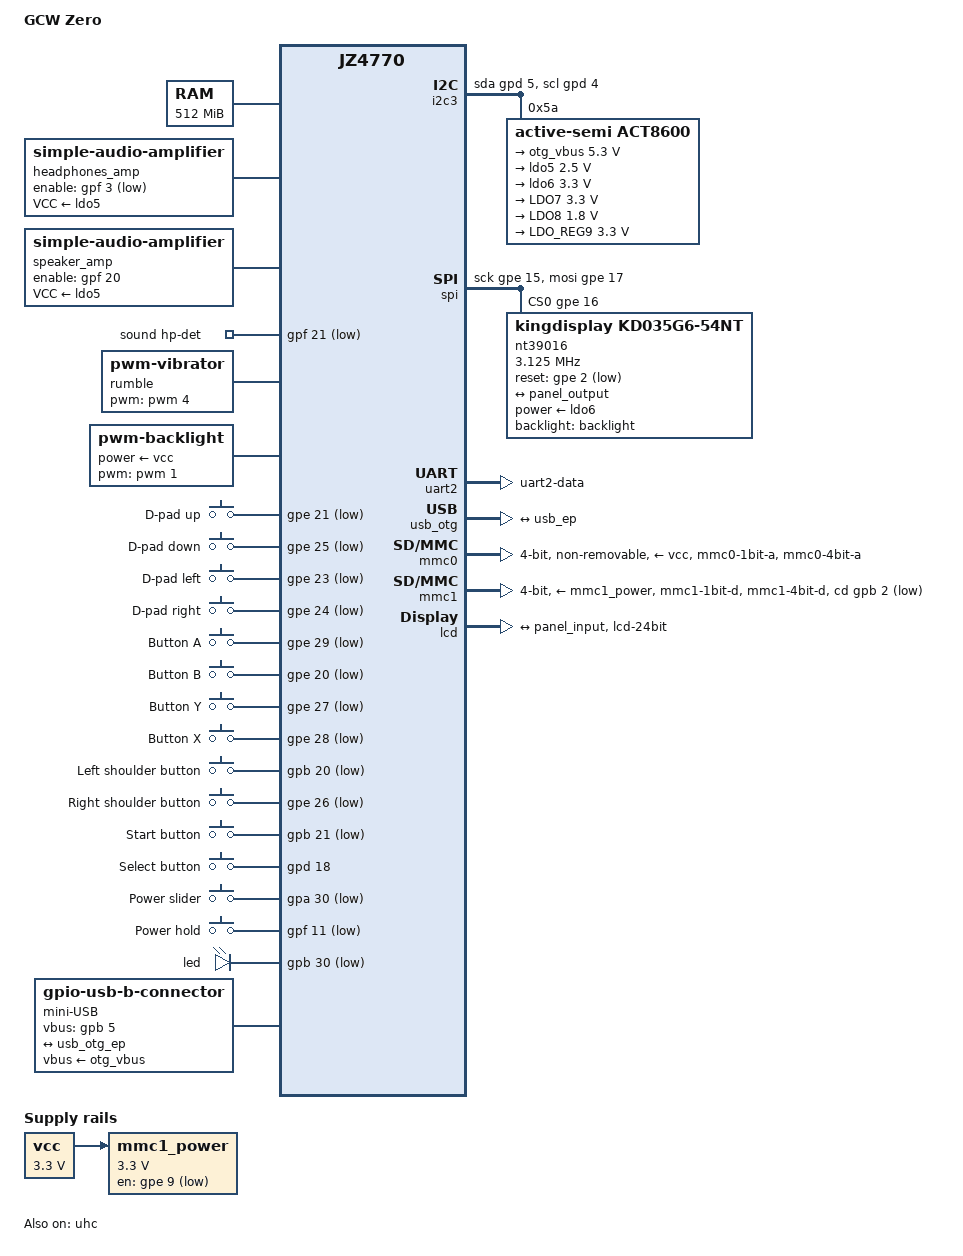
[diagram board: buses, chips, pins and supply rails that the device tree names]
// SPDX-License-Identifier: GPL-2.0
/dts-v1/;

#include "jz4770.dtsi"
#include <dt-bindings/clock/ingenic,tcu.h>

#include <dt-bindings/gpio/gpio.h>
#include <dt-bindings/iio/adc/ingenic,adc.h>
#include <dt-bindings/input/input.h>

/ {
	compatible = "gcw,zero", "ingenic,jz4770";
	model = "GCW Zero";

	aliases {
		serial0 = &uart0;
		serial1 = &uart1;
		serial2 = &uart2;
		serial3 = &uart3;
	};

	memory: memory {
		device_type = "memory";
		reg = <0x0 0x10000000>,
		      <0x30000000 0x10000000>;
	};

	chosen {
		stdout-path = "serial2:57600n8";
	};

	vcc: regulator@0 {
		compatible = "regulator-fixed";
		regulator-name = "vcc";

		regulator-min-microvolt = <3300000>;
		regulator-max-microvolt = <3300000>;
		regulator-always-on;
	};

	mmc1_power: regulator@1 {
		compatible = "regulator-fixed";
		regulator-name = "mmc1_vcc";
		gpio = <&gpe 9 0>;

		regulator-min-microvolt = <3300000>;
		regulator-max-microvolt = <3300000>;
		vin-supply = <&vcc>;
	};

	headphones_amp: analog-amplifier@0 {
		compatible = "simple-audio-amplifier";
		enable-gpios = <&gpf 3 GPIO_ACTIVE_LOW>;
		enable-delay-ms = <50>;

		VCC-supply = <&ldo5>;
		sound-name-prefix = "Headphones Amp";
	};

	speaker_amp: analog-amplifier@1 {
		compatible = "simple-audio-amplifier";
		enable-gpios = <&gpf 20 GPIO_ACTIVE_HIGH>;

		VCC-supply = <&ldo5>;
		sound-name-prefix = "Speaker Amp";
	};

	sound {
		compatible = "simple-audio-card";

		simple-audio-card,name = "gcw0-audio";
		simple-audio-card,format = "i2s";

		simple-audio-card,widgets =
			"Speaker", "Speaker",
			"Headphone", "Headphones",
			"Microphone", "Built-in Mic";
		simple-audio-card,routing =
			"Headphones Amp INL", "LHPOUT",
			"Headphones Amp INR", "RHPOUT",
			"Headphones", "Headphones Amp OUTL",
			"Headphones", "Headphones Amp OUTR",
			"Speaker Amp INL", "LOUT",
			"Speaker Amp INR", "ROUT",
			"Speaker", "Speaker Amp OUTL",
			"Speaker", "Speaker Amp OUTR",
			"LLINEIN", "Cap-less",
			"RLINEIN", "Cap-less",
			"Built-in Mic", "MICBIAS",
			"MIC1P", "Built-in Mic",
			"MIC1N", "Built-in Mic";
		simple-audio-card,pin-switches = "Speaker", "Headphones";

		simple-audio-card,hp-det-gpio = <&gpf 21 GPIO_ACTIVE_LOW>;
		simple-audio-card,aux-devs = <&speaker_amp>, <&headphones_amp>;

		simple-audio-card,bitclock-master = <&dai_codec>;
		simple-audio-card,frame-master = <&dai_codec>;

		dai_cpu: simple-audio-card,cpu {
			sound-dai = <&aic>;
		};

		dai_codec: simple-audio-card,codec {
			sound-dai = <&codec>;
		};
	};

	rumble {
		compatible = "pwm-vibrator";
		pwms = <&pwm 4 2000000 0>;
		pwm-names = "enable";

		pinctrl-names = "default";
		pinctrl-0 = <&pins_pwm4>;
	};

	backlight: backlight {
		compatible = "pwm-backlight";
		pwms = <&pwm 1 40000 0>;
		power-supply = <&vcc>;

		brightness-levels = <0 16 32 48 64 80 96 112 128
				     144 160 176 192 208 224 240 255>;
		default-brightness-level = <12>;

		pinctrl-names = "default";
		pinctrl-0 = <&pins_pwm1>;
	};

	gpio-keys {
		compatible = "gpio-keys";
		autorepeat;

		button-0 {
			label = "D-pad up";
			linux,code = <KEY_UP>;
			linux,can-disable;
			gpios = <&gpe 21 GPIO_ACTIVE_LOW>;
		};

		button-1 {
			label = "D-pad down";
			linux,code = <KEY_DOWN>;
			linux,can-disable;
			gpios = <&gpe 25 GPIO_ACTIVE_LOW>;
		};

		button-2 {
			label = "D-pad left";
			linux,code = <KEY_LEFT>;
			linux,can-disable;
			gpios = <&gpe 23 GPIO_ACTIVE_LOW>;
		};

		button-3 {
			label = "D-pad right";
			linux,code = <KEY_RIGHT>;
			linux,can-disable;
			gpios = <&gpe 24 GPIO_ACTIVE_LOW>;
		};

		button-4 {
			label = "Button A";
			linux,code = <KEY_LEFTCTRL>;
			linux,can-disable;
			gpios = <&gpe 29 GPIO_ACTIVE_LOW>;
		};

		button-5 {
			label = "Button B";
			linux,code = <KEY_LEFTALT>;
			linux,can-disable;
			gpios = <&gpe 20 GPIO_ACTIVE_LOW>;
		};

		button-6 {
			label = "Button Y";
			linux,code = <KEY_SPACE>;
			linux,can-disable;
			gpios = <&gpe 27 GPIO_ACTIVE_LOW>;
		};

		button-7 {
			label = "Button X";
			linux,code = <KEY_LEFTSHIFT>;
			linux,can-disable;
			gpios = <&gpe 28 GPIO_ACTIVE_LOW>;
		};

		button-8 {
			label = "Left shoulder button";
			linux,code = <KEY_TAB>;
			linux,can-disable;
			gpios = <&gpb 20 GPIO_ACTIVE_LOW>;
		};

		button-9 {
			label = "Right shoulder button";
			linux,code = <KEY_BACKSPACE>;
			linux,can-disable;
			gpios = <&gpe 26 GPIO_ACTIVE_LOW>;
		};

		button-10 {
			label = "Start button";
			linux,code = <KEY_ENTER>;
			linux,can-disable;
			gpios = <&gpb 21 GPIO_ACTIVE_LOW>;
		};

		button-11 {
			label = "Select button";
			linux,code = <KEY_ESC>;
			linux,can-disable;
			/*
			 * This is the only button that is active high,
			 * since it doubles as BOOT_SEL1.
			 */
			gpios = <&gpd 18 GPIO_ACTIVE_HIGH>;
		};

		button-12 {
			label = "Power slider";
			linux,code = <KEY_POWER>;
			linux,can-disable;
			gpios = <&gpa 30 GPIO_ACTIVE_LOW>;
			wakeup-source;
		};

		button-13 {
			label = "Power hold";
			linux,code = <KEY_PAUSE>;
			linux,can-disable;
			gpios = <&gpf 11 GPIO_ACTIVE_LOW>;
		};
	};

	i2c3: i2c-controller@3 {
		compatible = "i2c-gpio";
		#address-cells = <1>;
		#size-cells = <0>;

		sda-gpios = <&gpd 5 GPIO_ACTIVE_HIGH>;
		scl-gpios = <&gpd 4 GPIO_ACTIVE_HIGH>;
		i2c-gpio,delay-us = <2>; /* 250 kHz */

		act8600: pmic@5a {
			compatible = "active-semi,act8600";
			reg = <0x5a>;

			regulators {
				/* USB OTG */
				otg_vbus: SUDCDC_REG4 {
					/*
					 * 5.3V instead of 5.0V to compensate
					 * for the voltage drop of a diode
					 * between the regulator and the
					 * connector.
					 */
					regulator-min-microvolt = <5300000>;
					regulator-max-microvolt = <5300000>;
					inl-supply = <&vcc>;
				};

				/*
				 * When this is off, there is no sound, but also
				 * no USB networking.
				 */
				ldo5: LDO5 {
					regulator-min-microvolt = <2500000>;
					regulator-max-microvolt = <2500000>;
					inl-supply = <&vcc>;
				};

				/* LCD panel and FM radio */
				ldo6: LDO6 {
					regulator-min-microvolt = <3300000>;
					regulator-max-microvolt = <3300000>;
					inl-supply = <&vcc>;
				};

				/* ??? */
				LDO7 {
					regulator-min-microvolt = <3300000>;
					regulator-max-microvolt = <3300000>;
					/*regulator-always-on;*/
					inl-supply = <&vcc>;
				};

				/*
				 * The colors on the LCD are wrong when this is
				 * off. Which is strange, since the LCD panel
				 * data sheet only mentions a 3.3V input.
				 */
				LDO8 {
					regulator-min-microvolt = <1800000>;
					regulator-max-microvolt = <1800000>;
					regulator-always-on;
					inl-supply = <&vcc>;
				};

				/* RTC fixed 3.3V */
				LDO_REG9 {
					regulator-min-microvolt = <3300000>;
					regulator-max-microvolt = <3300000>;
					regulator-always-on;
					inl-supply = <&vcc>;
				};

				/* Unused fixed 1.2V */
				LDO_REG10 {
					inl-supply = <&vcc>;
				};
			};
		};
	};

	leds {
		compatible = "gpio-leds";

		led {
			gpios = <&gpb 30 GPIO_ACTIVE_LOW>;
			default-state = "on";
		};
	};

	spi {
		compatible = "spi-gpio";
		#address-cells = <1>;
		#size-cells = <0>;

		sck-gpios = <&gpe 15 GPIO_ACTIVE_HIGH>;
		mosi-gpios = <&gpe 17 GPIO_ACTIVE_HIGH>;
		cs-gpios = <&gpe 16 GPIO_ACTIVE_HIGH>;
		num-chipselects = <1>;

		nt39016@0 {
			compatible = "kingdisplay,kd035g6-54nt";
			reg = <0>;

			spi-max-frequency = <3125000>;
			spi-3wire;

			reset-gpios = <&gpe 2 GPIO_ACTIVE_LOW>;

			backlight = <&backlight>;
			power-supply = <&ldo6>;

			port {
				panel_input: endpoint {
					remote-endpoint = <&panel_output>;
				};
			};
		};
	};

	connector {
		compatible = "gpio-usb-b-connector", "usb-b-connector";
		label = "mini-USB";
		type = "mini";

		/*
		 * USB OTG is not yet working reliably, the ID detection
		 * mechanism tends to fry easily for unknown reasons.
		 * Until this is fixed, disable OTG by not providing the
		 * ID GPIO to the driver.
		 */
		//id-gpios = <&gpf 18 GPIO_ACTIVE_LOW>;

		vbus-gpios = <&gpb 5 GPIO_ACTIVE_HIGH>;
		vbus-supply = <&otg_vbus>;

		pinctrl-names = "default";
		pinctrl-0 = <&pins_otg>;

		port {
			usb_ep: endpoint {
				remote-endpoint = <&usb_otg_ep>;
			};
		};
	};
};

&ext {
	clock-frequency = <12000000>;
};

&pinctrl {
	pins_lcd: lcd {
		function = "lcd";
		groups = "lcd-24bit";
	};

	pins_uart2: uart2 {
		function = "uart2";
		groups = "uart2-data";
	};

	pins_mmc0: mmc0 {
		function = "mmc0";
		groups = "mmc0-1bit-a", "mmc0-4bit-a";
	};

	pins_mmc1: mmc1 {
		function = "mmc1";
		groups = "mmc1-1bit-d", "mmc1-4bit-d";
	};

	pins_otg: otg {
		otg-vbus-pin {
			function = "otg";
			groups = "otg-vbus";
		};

		vbus-pin {
			pins = "PB5";
			bias-disable;
		};
	};

	pins_pwm1: pwm1 {
		function = "pwm1";
		groups = "pwm1";
	};

	pins_pwm4: pwm4 {
		function = "pwm4";
		groups = "pwm4";
	};
};

&uart2 {
	pinctrl-names = "default";
	pinctrl-0 = <&pins_uart2>;

	status = "okay";
};

&cgu {
	/*
	 * Put high-speed peripherals under PLL1, such that we can change the
	 * PLL0 frequency on demand without having to suspend peripherals.
	 * We use a rate of 432 MHz, which is the least common multiple of
	 * 27 MHz (required by TV encoder) and 48 MHz (required by USB host).
	 * Put the GPU under PLL0 since we want a higher frequency.
	 * Use the 32 kHz oscillator as the parent of the RTC for a higher
	 * precision.
	 */
	assigned-clocks =
		<&cgu JZ4770_CLK_PLL1>,
		<&cgu JZ4770_CLK_GPU>,
		<&cgu JZ4770_CLK_RTC>,
		<&cgu JZ4770_CLK_UHC>,
		<&cgu JZ4770_CLK_LPCLK_MUX>,
		<&cgu JZ4770_CLK_MMC0_MUX>,
		<&cgu JZ4770_CLK_MMC1_MUX>;
	assigned-clock-parents =
		<0>,
		<&cgu JZ4770_CLK_PLL0>,
		<&cgu JZ4770_CLK_OSC32K>,
		<&cgu JZ4770_CLK_PLL1>,
		<&cgu JZ4770_CLK_PLL1>,
		<&cgu JZ4770_CLK_PLL1>,
		<&cgu JZ4770_CLK_PLL1>;
	assigned-clock-rates =
		<432000000>,
		<600000000>;
};

&uhc {
	/* The WiFi module is connected to the UHC. */
	status = "okay";
};

&tcu {
	/*
	 * 750 kHz for the system timer and clocksource, 12 MHz for the OST,
	 * and use RTC as the parent for the watchdog clock
	 */
	assigned-clocks = <&tcu TCU_CLK_TIMER0>, <&tcu TCU_CLK_TIMER2>,
			  <&tcu TCU_CLK_OST>, <&tcu TCU_CLK_WDT>;
	assigned-clock-parents = <0>, <0>, <0>, <&cgu JZ4770_CLK_RTC>;
	assigned-clock-rates = <750000>, <750000>, <12000000>;

	/* PWM1 is in use, so use channel #2 for the clocksource */
	ingenic,pwm-channels-mask = <0xfa>;
};

&usb_otg {
	port {
		usb_otg_ep: endpoint {
			remote-endpoint = <&usb_ep>;
		};
	};
};

&otg_phy {
	vcc-supply = <&ldo5>;
};

&rtc {
	clocks = <&cgu JZ4770_CLK_RTC>;
	clock-names = "rtc";

	system-power-controller;
};

&mmc0 {
	status = "okay";

	bus-width = <4>;
	max-frequency = <48000000>;
	vmmc-supply = <&vcc>;
	non-removable;

	pinctrl-names = "default";
	pinctrl-0 = <&pins_mmc0>;
};

&mmc1 {
	status = "okay";

	bus-width = <4>;
	max-frequency = <48000000>;
	cd-gpios = <&gpb 2 GPIO_ACTIVE_LOW>;
	vmmc-supply = <&mmc1_power>;

	pinctrl-names = "default";
	pinctrl-0 = <&pins_mmc1>;
};

&lcd {
	pinctrl-names = "default";
	pinctrl-0 = <&pins_lcd>;

	port {
		panel_output: endpoint {
			remote-endpoint = <&panel_input>;
		};
	};
};
